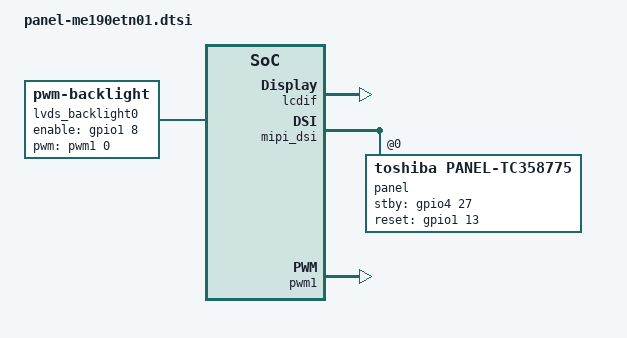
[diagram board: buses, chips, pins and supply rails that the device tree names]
/*
 * Copyright 2020 MYiR Devices
 */

/{
	lvds_backlight0: lvds_backlight@0 {
		compatible = "pwm-backlight";
		pwms = <&pwm1 0 1000000 >;  /*1KHZ*/
		enable-gpios = <&gpio1 8 GPIO_ACTIVE_HIGH>;
		brightness-levels = < 0  1  2  3  4  5  6  7  8  9
				     10 11 12 13 14 15 16 17 18 19
				     20 21 22 23 24 25 26 27 28 29
				     30 31 32 33 34 35 36 37 38 39
				     40 41 42 43 44 45 46 47 48 49
				     50 51 52 53 54 55 56 57 58 59
				     60 61 62 63 64 65 66 67 68 69
				     70 71 72 73 74 75 76 77 78 79
				     80 81 82 83 84 85 86 87 88 89
				     90 91 92 93 94 95 96 97 98 99
				    100>;
		default-brightness-level = <80>;
	};
};


&lcdif{
    status = "okay";
	max-res = <1280>, <1024>;
};

&mipi_dsi{
	panel@0 {
		compatible = "toshiba,panel-tc358775";
		reg = <0>;
		pinctrl-0 = <&pinctrl_mipi_dsi_en>;
		stby-gpio = <&gpio4 27 GPIO_ACTIVE_HIGH>;
		reset-gpio = <&gpio1 13 GPIO_ACTIVE_HIGH>;
		dsi-lanes = <4>;
		panel-width-mm = <396>;
		panel-height-mm = <324>;
		
		toshiba,debug = <0>;
		toshiba,ppi_tx_rx_ta = <0x00050006>;
		toshiba,ppi_lptxtimecnt = <0x00000004>;
		toshiba,ppi_d0s_clrsipocount = <0x00000006>;
		toshiba,ppi_d1s_clrsipocount = <0x00000006>;
		toshiba,ppi_d2s_clrsipocount = <0x00000006>;
		toshiba,ppi_d3s_clrsipocount = <0x00000006>;
		toshiba,ppi_laneenable = <0x0000001f>; 
		toshiba,dsi_laneenable = <0x0000001f>; 
		toshiba,ppi_sartppi = <0x00000001>; 
		toshiba,dsi_sartppi = <0x00000001>;
		
		toshiba,vpctrl = <0x03F00100>; 
		toshiba,htim1 = <0x00A00020>;
		toshiba,htim2 = <0x00300500>;
		toshiba,vtim1 = <0x001E0007>;
		toshiba,vtim2 = <0x00030400>;
		toshiba,vfuen = <0x00000001>;
		toshiba,lvphy0 = <0x0044802D>;
		toshiba,lvphy0_1 = <0x0004802D>;
		toshiba,sysrst = <0x00000004>; 

		
		toshiba,lvmx0003 = <0x03020100>;
		toshiba,lvmx0407 = <0x08050704>;
		toshiba,lvmx0811 = <0x0f0e0a09>;
		toshiba,lvmx1215 = <0x100d0c0b>;
		toshiba,lvmx1619 = <0x12111716>;
		toshiba,lvmx2023 = <0x1b151413>;
		toshiba,lvmx2427 = <0x061a1918>;
		toshiba,lvcfg = <0x00000433>;
		
		client-device  = <&tc358775>;
		display-timings {
				native-mode = <&timing0>;
				timing0:timing0{
					clock-frequency = <91000000>;
					hactive = <1280>;
					hsync-len = <32>;
					hback-porch = <160>;
					hfront-porch = <48>;
					vactive = <1024>;
					vsync-len = <7>;
					vback-porch = <30>;
					vfront-porch = <3>;
					vsync-active = <0>;
					hsync-active =<0>;
					de-active =<0>;
					pixelclk-active =<0>;
				};
		};
	};

};
&iomuxc {
     imx8mm-evk {
        pinctrl_pwm1: lvds0pwm1grp {
             fsl,pins = <
                MX8MM_IOMUXC_GPIO1_IO01_PWM1_OUT 0x19                                                              
             >;
           };
    };
};  

&pwm1 {
	pinctrl-names = "default";
	pinctrl-0 = <&pinctrl_pwm1>;
	status = "okay";
};

